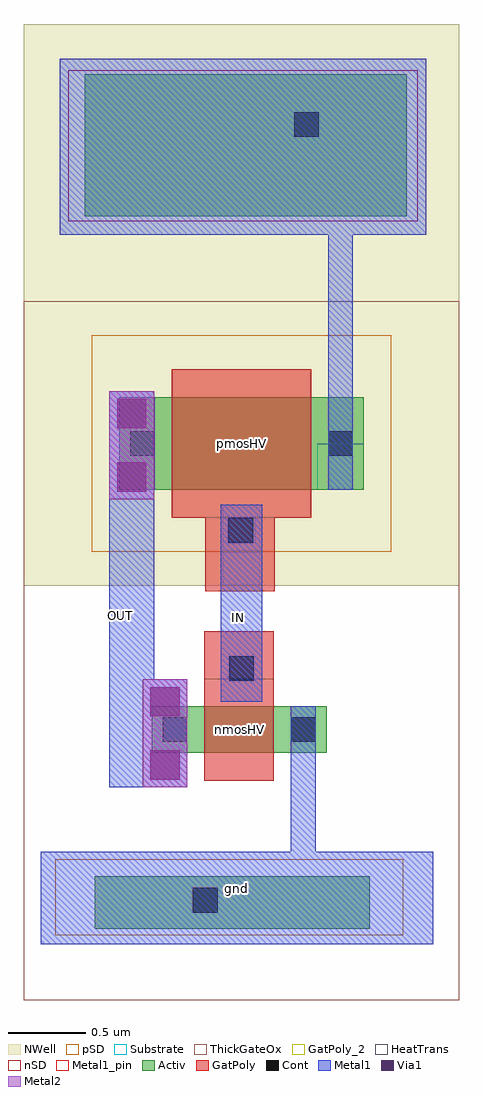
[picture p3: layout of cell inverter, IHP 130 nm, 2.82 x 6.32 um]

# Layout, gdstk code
import gdstk
lib = gdstk.Library(unit=1e-6, precision=1e-09)
def R(c, l, rs):  # rectangles x0, y0, x1, y1
    for r in rs: c.add(gdstk.rectangle(r[:2], r[2:], *l))
def P(c, l, *ps):  # polygons
    for p in ps: c.add(gdstk.Polygon(p, *l))
Activ = (1, 0)
GatPoly = (5, 0)
GatPoly_2 = (5, 2)
Cont = (6, 0)
nSD = (7, 0)
Metal1 = (8, 0)
Metal1_pin = (8, 2)
Metal2 = (10, 0)
pSD = (14, 0)
Via1 = (19, 0)
NWell = (31, 0)
Substrate = (40, 0)
ThickGateOx = (44, 0)
HeatTrans = (51, 0)

inverter = lib.new_cell('inverter')
R(inverter, Activ, [(243.645,415.165,245.425,415.505), (244.015,416.305,244.315,416.605), (244.015,416.305,245.145,416.605), (244.845,416.305,245.145,416.605), (243.805,418.005,244.105,418.305), (243.805,418.005,245.385,418.605), (245.085,418.005,245.385,418.305), (243.58,419.775,245.665,420.695)])
R(inverter, GatPoly, [(244.355,416.125,244.805,416.785), (244.355,416.785,244.805,417.09), (244.36,417.35,244.81,417.88), (244.4,417.51,244.76,417.825), (244.145,417.825,245.045,418.785)])
R(inverter, GatPoly_2, [(244.355,416.125,244.805,416.785), (244.145,417.825,245.045,418.785)])
R(inverter, Cont, [(244.28,415.27,244.44,415.43), (244.085,416.375,244.245,416.535), (244.915,416.375,245.075,416.535), (244.515,416.77,244.675,416.93), (244.51,417.665,244.67,417.825), (243.875,418.225,244.035,418.385), (245.155,418.225,245.315,418.385), (244.935,420.29,245.095,420.45)])
R(inverter, nSD, [(243.475,419.745,245.735,420.72)])
R(inverter, Metal1, [(243.955,416.08,244.245,416.78), (244.085,416.305,244.245,416.605), (244.915,416.305,245.075,416.605), (244.46,416.635,244.73,417.91), (243.74,417.945,244.03,418.645), (243.875,418.005,244.035,418.605), (245.155,418.005,245.315,418.605)])
P(inverter, Metal1, [(243.295,415.065),(243.295,415.665),(244.915,415.665),(244.915,416.605),(245.075,416.605),(245.075,415.665),(245.835,415.665),(245.835,415.065)],
  [(245.155,418.005),(245.155,419.655),(243.42,419.655),(243.42,420.795),(245.79,420.795),(245.79,419.655),(245.315,419.655),(245.315,418.005)],
  [(243.74,416.08),(243.74,417.945),(244.03,417.945),(244.03,416.76),(243.965,416.76),(243.965,416.08)])
R(inverter, Metal1_pin, [(244.085,416.305,244.245,416.605), (244.915,416.305,245.075,416.605), (244.46,416.635,244.73,417.91), (243.875,418.005,244.035,418.605), (245.155,418.005,245.315,418.605)])
P(inverter, Metal1_pin, [(245.155,418.005),(245.155,419.655),(243.42,419.655),(243.42,420.795),(245.79,420.795),(245.79,419.655),(245.315,419.655),(245.315,418.005)],
  [(243.74,416.08),(243.74,418.645),(244.03,418.645),(244.03,416.78),(244.245,416.78),(244.245,416.08)],
  [(243.295,415.065),(243.295,415.665),(244.915,415.665),(244.915,416.605),(245.075,416.605),(245.075,415.665),(245.835,415.665),(245.835,415.065)])
R(inverter, Metal2, [(243.955,416.08,244.245,416.78), (243.74,417.945,244.03,418.645)])
R(inverter, pSD, [(243.39,415.125,245.64,415.615), (243.625,417.605,245.565,419.005)])
R(inverter, Via1, [(244.005,416.13,244.195,416.32), (244.005,416.54,244.195,416.73), (243.79,417.995,243.98,418.185), (243.79,418.405,243.98,418.595)])
R(inverter, NWell, [(243.185,417.385,246.005,419.225), (243.185,419.225,246.005,421.02)])
R(inverter, Substrate, [(245.085,418.005,245.385,418.305)])
R(inverter, ThickGateOx, [(243.185,414.705,246.005,417.385), (243.745,415.785,245.415,417.125), (243.185,417.385,246.005,419.225)])
R(inverter, HeatTrans, [(244.355,416.125,244.805,416.785), (244.145,417.825,245.045,418.785)])
inverter.add(gdstk.Label('pmosHV', (244.595,418.305), layer=63, texttype=0))
inverter.add(gdstk.Label('nmosHV', (244.58,416.455), layer=63, texttype=0))
inverter.add(gdstk.Label('pmos', (244.595,418.305), layer=51, texttype=0))
inverter.add(gdstk.Label('nmosHV', (244.58,416.455), layer=51, texttype=0))
inverter.add(gdstk.Label('gnd', (244.56,415.425), layer=8, texttype=25))
inverter.add(gdstk.Label('IN', (244.575,417.18), layer=8, texttype=25))
inverter.add(gdstk.Label('OUT', (243.815,417.195), layer=8, texttype=25))

lib.write_gds('inverter.gds')
